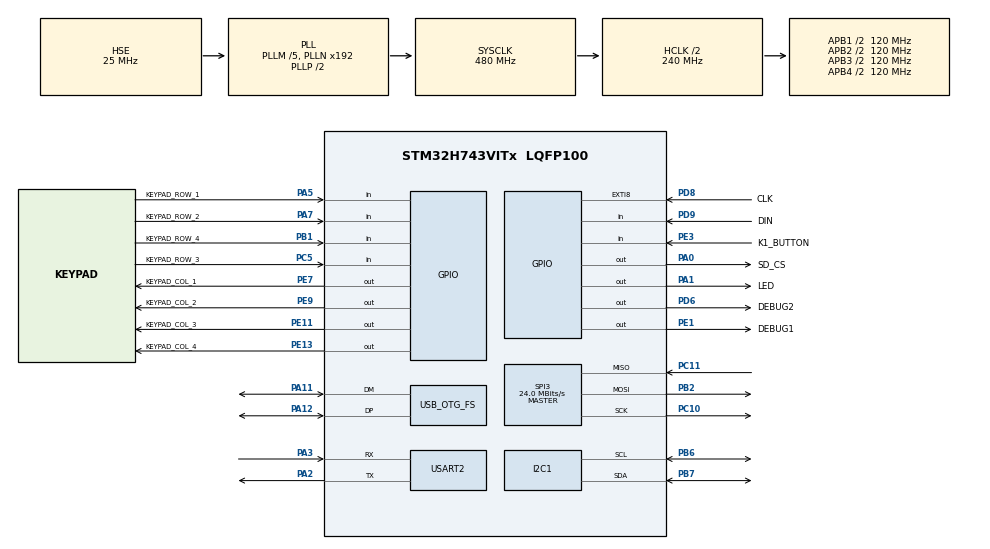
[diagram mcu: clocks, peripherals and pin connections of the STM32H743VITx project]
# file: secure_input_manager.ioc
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FATFS._MAX_SS=4096
FATFS._USE_LFN=1
FATFS._VOLUMES=2
I2C1.Timing=0x307075B1
Mcu.Family=STM32H7
Mcu.Name=STM32H743VITx
Mcu.Package=LQFP100
NVIC.OTG_FS_IRQn=true\:0\:0\:false\:false\:true\:false\:true\:true
NVIC.PriorityGroup=NVIC_PRIORITYGROUP_4
PA0.GPIO_Label=SD_CS
PA0.GPIO_Speed=GPIO_SPEED_FREQ_MEDIUM
PA0.Signal=GPIO_Output
PA1.GPIO_Label=LED
PA1.GPIO_Speed=GPIO_SPEED_FREQ_MEDIUM
PA1.PinState=GPIO_PIN_SET
PA1.Signal=GPIO_Output
PA11.Mode=Device_Only
PA11.Signal=USB_OTG_FS_DM
PA12.Mode=Device_Only
PA12.Signal=USB_OTG_FS_DP
PA13\ (JTMS/SWDIO).Mode=Serial_Wire
PA13\ (JTMS/SWDIO).Signal=DEBUG_JTMS-SWDIO
PA14\ (JTCK/SWCLK).Mode=Serial_Wire
PA14\ (JTCK/SWCLK).Signal=DEBUG_JTCK-SWCLK
PA2.Mode=Asynchronous
PA2.Signal=USART2_TX
PA3.Mode=Asynchronous
PA3.Signal=USART2_RX
PA5.GPIO_Label=KEYPAD_ROW_1
PA5.GPIO_PuPd=GPIO_PULLUP
PA5.Signal=GPIO_Input
PA7.GPIO_Label=KEYPAD_ROW_2
PA7.GPIO_PuPd=GPIO_PULLUP
PA7.Signal=GPIO_Input
PB1.GPIO_Label=KEYPAD_ROW_4
PB1.GPIO_PuPd=GPIO_PULLUP
PB1.Signal=GPIO_Input
PB2.Mode=Full_Duplex_Master
PB2.Signal=SPI3_MOSI
PB6.Mode=I2C
PB6.Signal=I2C1_SCL
PB7.Mode=I2C
PB7.Signal=I2C1_SDA
PC10.Mode=Full_Duplex_Master
PC10.Signal=SPI3_SCK
PC11.Mode=Full_Duplex_Master
PC11.Signal=SPI3_MISO
PC5.GPIO_Label=KEYPAD_ROW_3
PC5.GPIO_PuPd=GPIO_PULLUP
PC5.Signal=GPIO_Input
PD6.GPIO_Label=DEBUG2
PD6.Signal=GPIO_Output
PD8.GPIO_Label=CLK
PD8.GPIO_ModeDefaultEXTI=GPIO_MODE_IT_FALLING
PD8.Signal=GPXTI8
PD9.GPIO_Label=DIN
PD9.Signal=GPIO_Input
PE1.GPIO_Label=DEBUG1
PE1.PinState=GPIO_PIN_SET
PE1.Signal=GPIO_Output
PE11.GPIO_Label=KEYPAD_COL_3
PE11.Signal=GPIO_Output
PE13.GPIO_Label=KEYPAD_COL_4
PE13.Signal=GPIO_Output
PE3.GPIO_Label=K1_BUTTON
PE3.GPIO_PuPd=GPIO_PULLUP
PE3.Signal=GPIO_Input
PE7.GPIO_Label=KEYPAD_COL_1
PE7.Signal=GPIO_Output
PE9.GPIO_Label=KEYPAD_COL_2
PE9.Signal=GPIO_Output
PH0-OSC_IN\ (PH0).Mode=HSE-External-Oscillator
PH0-OSC_IN\ (PH0).Signal=RCC_OSC_IN
PH1-OSC_OUT\ (PH1).Mode=HSE-External-Oscillator
PH1-OSC_OUT\ (PH1).Signal=RCC_OSC_OUT
ProjectManager.HeapSize=0x2000
ProjectManager.StackSize=0x2000
ProjectManager.TargetToolchain=STM32CubeIDE
RCC.ADCFreq_Value=75000000
RCC.APB1Freq_Value=120000000
RCC.APB2Freq_Value=120000000
RCC.APB3Freq_Value=120000000
RCC.APB4Freq_Value=120000000
RCC.CortexFreq_Value=480000000
RCC.D1PPRE=RCC_APB3_DIV2
RCC.D2PPRE1=RCC_APB1_DIV2
RCC.D2PPRE2=RCC_APB2_DIV2
RCC.D3PPRE=RCC_APB4_DIV2
RCC.DIVM1=5
RCC.DIVM2=2
RCC.DIVN1=192
RCC.DIVN2=12
RCC.DIVQ1=20
RCC.DIVR2=1
RCC.HCLKFreq_Value=240000000
RCC.HPRE=RCC_HCLK_DIV2
RCC.HSE_VALUE=25000000
RCC.PLL2FRACN=0
RCC.PLLFRACN=0
RCC.PLLSourceVirtual=RCC_PLLSOURCE_HSE
RCC.SYSCLKFreq_VALUE=480000000
RCC.SYSCLKSource=RCC_SYSCLKSOURCE_PLLCLK
RCC.SupplySource=PWR_LDO_SUPPLY
RCC.USBFreq_Value=48000000
SPI3.CalculateBaudRate=24.0 MBits/s
SPI3.Direction=SPI_DIRECTION_2LINES
SPI3.Mode=SPI_MODE_MASTER
SPI3.VirtualType=VM_MASTER
USART2.VirtualMode-Asynchronous=VM_ASYNC
USB_DEVICE.CLASS_NAME_FS=CUSTOM_HID
USB_DEVICE.USBD_CUSTOM_HID_REPORT_DESC_SIZE-CUSTOM_HID_FS=61
USB_DEVICE.VirtualMode-CUSTOM_HID_FS=CustomHid
USB_DEVICE.VirtualModeFS=Custom_Hid_FS
USB_OTG_FS.VirtualMode=Device_Only
USB_OTG_FS.dma_enable=DISABLE
VP_FATFS_VS_Generic.Mode=User_defined
VP_USB_DEVICE_VS_USB_DEVICE_CUSTOM_HID_FS.Mode=CUSTOM_HID_FS
board=custom

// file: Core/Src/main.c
/* USER CODE BEGIN Header */
/**
  ******************************************************************************
  * @file           : main.c
  * @brief          : Main program body
  ******************************************************************************
  * @attention
  *
  * Copyright (c) 2024 STMicroelectronics.
  * All rights reserved.
  *
  * This software is licensed under terms that can be found in the LICENSE file
  * in the root directory of this software component.
  * If no LICENSE file comes with this software, it is provided AS-IS.
  *
  ******************************************************************************
  *
  * USB HID from https://github.com/adzierzanowski/ps2-to-usb
  * PS2 from https://github.com/RobertoBenjami/stm32_ps2; ręcznie ustawiane przerwania i pewnie nie tylko
  * KeyPad from https://github.com/nimaltd/KeyPad
  * driver OLED from https://github.com/KoenGilissen/STM32F432KC_SSD1306_I2C_driver/tree/master
  *
  * ToDo
  * - elementy do stika:
  * 	- STM32G0B1 32 nogi + USB
  * 		- https://www.mouser.pl/ProductDetail/STMicroelectronics/STM32G0B1KEU6N?qs=CiayqK2gdcJs2wGa9bJzjQ%3D%3D
  * 			- 5x5x055mm obudowa UFQFPN
  * 	- stab 3,6V
  * 	- rezonator? mini
  * 	- OLED 32x12mm 128x64 0,91 cala
  * 	- gniazdo kartu SD mini krótka
  * 		- https://www.tme.eu/pl/details/mem2085/zlacza-do-kart/global-connector-technology-gct/mem2085-00-115-00-a/
  * 			- super małe
  * 	- tacty https://www.tme.eu/pl/details/b3u-3100pm-b/mikroprzelaczniki-tact/omron-electronic-components/
  *
  * - jak zorganizować wysyłkę znaków poprzez HID (potrzebne są ostępy czasowe pomiędzy wysłaniem znaku a bajtu zerowego)
  * - 20240712
  * 	- po wysłaniu znaku musi być czas jakiś (50ms działa) przed wysłaniem bajtu zerowego (puszczenie klawisza)
  * 		- przerwania?
  * 	- wysyłanie w STM było "SEND_REPORT_HID" a u nas SEND_REPORT_CUSTOM_HID
  * 	-
  * - dodanie peryferiów i uruchomienie (plus wyczyszczenie kodu)
  * 	- zrobiony! OLED
  * 	- zrobiony! KeyPad
  * 	- zrobiony! RS232 huart2
  * 	- PS2
  * 		- branch PS2; na bazie https://github.com/RobertoBenjami/stm32_ps2
  * 		- usunięcie obsługi myszy
  * 	- USB keyboard
  * 		- custom HID
  * 		- !zrobione inicjalizacja keyboard HID: https://github.com/adzierzanowski/ps2-to-usb
  * 			- port i pin LED
  *
  ******************************************************************************
  */
/* USER CODE END Header */
#include "main.h"
#include "fatfs.h"
#include "i2c.h"
#include "spi.h"
#include "usart.h"
#include "usb_device.h"
#include "gpio.h"

/* USER CODE BEGIN Includes */
// OLED
#include "ssd1306.h"
// KeyPad
#include "KeyPad.h"
// keyboard PS2
#include "keyboardPS2.h"
#include <stdlib.h>
#include <stdio.h>
#include <string.h>
// custom HID keyboard CubeMX
#include "usbd_customhid.h"
#include "usbd_custom_hid_if.h"
// USB HID keyboard
#include "keyboard.h"

/* USER CODE END Includes */

/* USER CODE BEGIN PD */
// OLED begin
#define SSD1306_USE_I2C
#define __DEBUG 1
#define BUFFERSIZE 100
#define I2CBUF	12
// OLED end

/* USER CODE END PD */

/* USER CODE BEGIN PV */
// USB HID keyboard begin
struct keyboard_hid_t khid = {0};
// USB HID keyboard end

// OLED begin:
const uint8_t SSD1306_ADDRESS = 0x3C << 1;
const uint8_t RANDOM_REG = 0x0F;
char uartBuffer[BUFFERSIZE] = "";
uint8_t I2CBuffer[I2CBUF] = {0};
HAL_StatusTypeDef returnValue = 0;
// OLED end
// HID:
extern USBD_HandleTypeDef hUsbDeviceFS;
/* USER CODE END PV */

void SystemClock_Config(void);

int main(void)
{
  /* USER CODE BEGIN 1 */
	// KeyPad begin
	KeyPad_Init();
	// KeyPad end

  /* USER CODE END 1 */

  /* MCU Configuration--------------------------------------------------------*/

  /* Reset of all peripherals, Initializes the Flash interface and the Systick. */
  HAL_Init();

  /* Configure the system clock */
  SystemClock_Config();

  /* Initialize all configured peripherals */
  MX_GPIO_Init();
  MX_USB_DEVICE_Init();
  MX_I2C1_Init();
  MX_SPI3_Init();
  MX_USART2_UART_Init();
  MX_FATFS_Init();
  /* USER CODE BEGIN 2 */
  // OLED begin
	ssd1306_Init();
	ssd1306_Fill(Black);
	ssd1306_SetCursor(0,26);
	ssd1306_WriteString("Manager started.", Font_7x10, White);
	ssd1306_UpdateScreen();
	// OLED end
  /* USER CODE END 2 */

  /* Infinite loop */
  /* USER CODE BEGIN WHILE */
	// keybord PS2 begin
	uint8_t ch;
	//ToDo !nie działa!!! printf wzięty z biblioteki PS2
	printf("\r\nControl start\r\n");
	// keyboard PS2 end
	// RS send begin
	const char message[] = "Keyboard started!\r\n";
	HAL_UART_Transmit(&huart2, (uint8_t*)message, strlen(message), HAL_MAX_DELAY);
	// RS send end
  while (1)
  {
	/* here we simulate the time of other activities in the program loop */
	  // USB HID keyboard begin
	  //HAL_Delay(50);
	  //handle_keys(&hUsbDeviceFS, &khid, &keyq, keyq_timeout, &hi2c1);
	  // USB HID keyboard end

	/* get keyboard PS2 na ekran OLED begin*/
	while(ps2_kbd_getkey(&ch) == 1)
	{ /* recevied keyboard data */
		ssd1306_Init();
		ssd1306_Fill(Black);
		ssd1306_SetCursor(0,26);
		ssd1306_WriteChar(ch, Font_11x18, White);
		ssd1306_UpdateScreen();
	}
	// get keyboard PS2 na ekran OLED end

    /* USER CODE END WHILE */

    /* USER CODE BEGIN 3 */
	  // KeyPad begin
		 uint32_t timeout = 20;
		 char znak = KeyPad_WaitForKeyGetChar(timeout);
		 if (znak != 'X')
		 {
			ssd1306_Init();
			ssd1306_Fill(Black);
			ssd1306_SetCursor(0,26);
/* wysyłanie znaku na HID
 *
 */
		      uint8_t zwrot = 0;
		      struct keyboard_hid_t *khid0;
		      khid0->modifiers = 0;
		      khid0->reserved = 0;
		      khid0->keys[0] = 0x04;	// 0x45 F12; 0x04 "a"
		      khid0->keys[1] = 0;
		      khid0->keys[2] = 0;
		      khid0->keys[3] = 0;
		      khid0->keys[4] = 0;
		      khid0->keys[5] = 0;
		      zwrot = USBD_CUSTOM_HID_SendReport(&hUsbDeviceFS, (uint8_t *) khid0, KHIDSZ);
		      HAL_Delay(50);
		      khid0->modifiers = 0;
		      khid0->reserved = 0;
		      khid0->keys[0] = 0;
		      khid0->keys[1] = 0;
		      khid0->keys[2] = 0;
		      khid0->keys[3] = 0;
		      khid0->keys[4] = 0;
		      khid0->keys[5] = 0;
		      zwrot = USBD_CUSTOM_HID_SendReport(&hUsbDeviceFS, (uint8_t *) khid0, KHIDSZ);

			/*
			 * wysyłanie przez kolejkę; nieudana!
			 *
			//char c = znak;
			queue_elem_t ele = 0x001c;
			queue_put(&keyq, ele);
			//queue_put(&keyq, 0x1d);
			*/
			char str1[2] = {znak , '\0'};
			ssd1306_WriteString(str1, Font_11x18, White);
			ssd1306_UpdateScreen();
		 }
		 // KeyPad end
  }
  /* USER CODE END 3 */
}

void SystemClock_Config(void)
{
  RCC_OscInitTypeDef RCC_OscInitStruct = {0};
  RCC_ClkInitTypeDef RCC_ClkInitStruct = {0};

  /** Supply configuration update enable
  */
  HAL_PWREx_ConfigSupply(PWR_LDO_SUPPLY);

  /** Configure the main internal regulator output voltage
  */
  __HAL_PWR_VOLTAGESCALING_CONFIG(PWR_REGULATOR_VOLTAGE_SCALE1);

  while(!__HAL_PWR_GET_FLAG(PWR_FLAG_VOSRDY)) {}

  __HAL_RCC_SYSCFG_CLK_ENABLE();
  __HAL_PWR_VOLTAGESCALING_CONFIG(PWR_REGULATOR_VOLTAGE_SCALE0);

  while(!__HAL_PWR_GET_FLAG(PWR_FLAG_VOSRDY)) {}

  /** Initializes the RCC Oscillators according to the specified parameters
  * in the RCC_OscInitTypeDef structure.
  */
  RCC_OscInitStruct.OscillatorType = RCC_OSCILLATORTYPE_HSE;
  RCC_OscInitStruct.HSEState = RCC_HSE_ON;
  RCC_OscInitStruct.PLL.PLLState = RCC_PLL_ON;
  RCC_OscInitStruct.PLL.PLLSource = RCC_PLLSOURCE_HSE;
  RCC_OscInitStruct.PLL.PLLM = 5;
  RCC_OscInitStruct.PLL.PLLN = 192;
  RCC_OscInitStruct.PLL.PLLP = 2;
  RCC_OscInitStruct.PLL.PLLQ = 20;
  RCC_OscInitStruct.PLL.PLLR = 2;
  RCC_OscInitStruct.PLL.PLLRGE = RCC_PLL1VCIRANGE_2;
  RCC_OscInitStruct.PLL.PLLVCOSEL = RCC_PLL1VCOWIDE;
  RCC_OscInitStruct.PLL.PLLFRACN = 0;
  if (HAL_RCC_OscConfig(&RCC_OscInitStruct) != HAL_OK)
  {
    Error_Handler();
  }

  /** Initializes the CPU, AHB and APB buses clocks
  */
  RCC_ClkInitStruct.ClockType = RCC_CLOCKTYPE_HCLK|RCC_CLOCKTYPE_SYSCLK
                              |RCC_CLOCKTYPE_PCLK1|RCC_CLOCKTYPE_PCLK2
                              |RCC_CLOCKTYPE_D3PCLK1|RCC_CLOCKTYPE_D1PCLK1;
  RCC_ClkInitStruct.SYSCLKSource = RCC_SYSCLKSOURCE_PLLCLK;
  RCC_ClkInitStruct.SYSCLKDivider = RCC_SYSCLK_DIV1;
  RCC_ClkInitStruct.AHBCLKDivider = RCC_HCLK_DIV2;
  RCC_ClkInitStruct.APB3CLKDivider = RCC_APB3_DIV2;
  RCC_ClkInitStruct.APB1CLKDivider = RCC_APB1_DIV2;
  RCC_ClkInitStruct.APB2CLKDivider = RCC_APB2_DIV2;
  RCC_ClkInitStruct.APB4CLKDivider = RCC_APB4_DIV2;

  if (HAL_RCC_ClockConfig(&RCC_ClkInitStruct, FLASH_LATENCY_4) != HAL_OK)
  {
    Error_Handler();
  }
}

void Error_Handler(void)
{
  __disable_irq();
  while (1)
  {
  }
}
